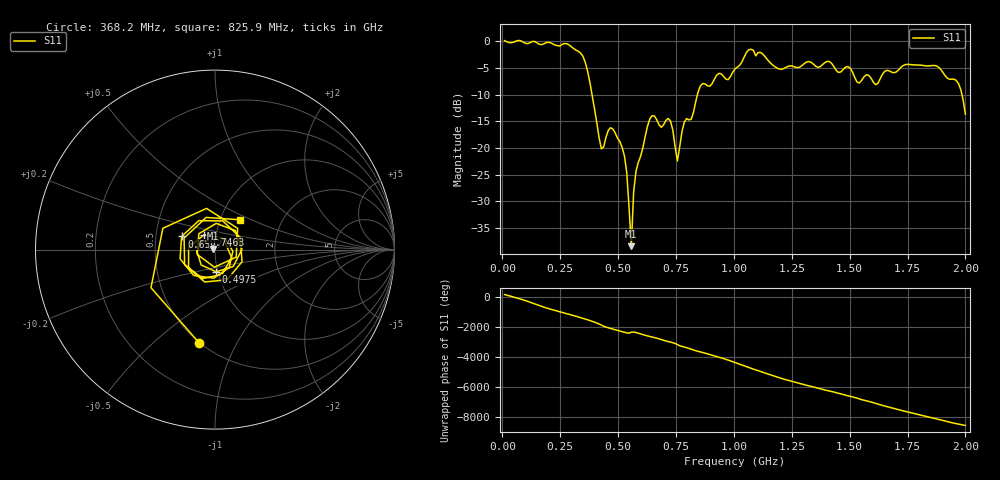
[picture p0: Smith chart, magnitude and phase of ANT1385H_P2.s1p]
!Created with skrf (http://scikit-rf.org).
# Hz S RI R 50.0
!freq ReS11 ImS11
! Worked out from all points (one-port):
!   201 points, 10 MHz to 2 GHz, reference 50 ohm
!   lowest |S11| = -38.4 dB at 557.2 MHz (marker M1), VSWR 1.02, Z = 48.9 + j0.432 ohm
!   |S11| at or under -10 dB: 387.8 MHz to 842.6 MHz (454.8 MHz wide, 73.9 % of centre); 1.985 GHz to end of sweep
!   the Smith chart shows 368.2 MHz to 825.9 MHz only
!   S11 on the Smith chart (normalised r, x): 368.2 MHz: 0.50, -0.72; 497.6 MHz: 0.98, -0.25; 656.8 MHz: 0.68, +0.10; 746.3 MHz: 0.87, +0.15; 825.9 MHz: 1.24, +0.43
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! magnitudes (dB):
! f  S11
! 10 MHz  0.2
! 258.8 MHz  -0.5
! 338.4 MHz  -2.2
! 368.2 MHz  -5.5
! 427.9 MHz  -20.2
! 467.7 MHz  -16.2
! 497.6 MHz  -18.2
! 507.5 MHz  -18.8
! 537.4 MHz  -24.6
! 557.2 MHz  -38.4
! 567.2 MHz  -28.3
! 577.1 MHz  -24.4
! 636.9 MHz  -14.6
! 656.8 MHz  -14.0
! 726.4 MHz  -14.9
! 746.3 MHz  -19.8
! 756.2 MHz  -22.4
! 786.1 MHz  -15.1
! 825.9 MHz  -13.3
! 855.8 MHz  -8.3
! 1.005 GHz  -5.2
! 1.075 GHz  -1.5
! 1.254 GHz  -4.6
! 1.502 GHz  -5.0
! 1.612 GHz  -8.1
! 1.751 GHz  -4.3
! 1.96 GHz  -7.3
! 2 GHz  -13.7
